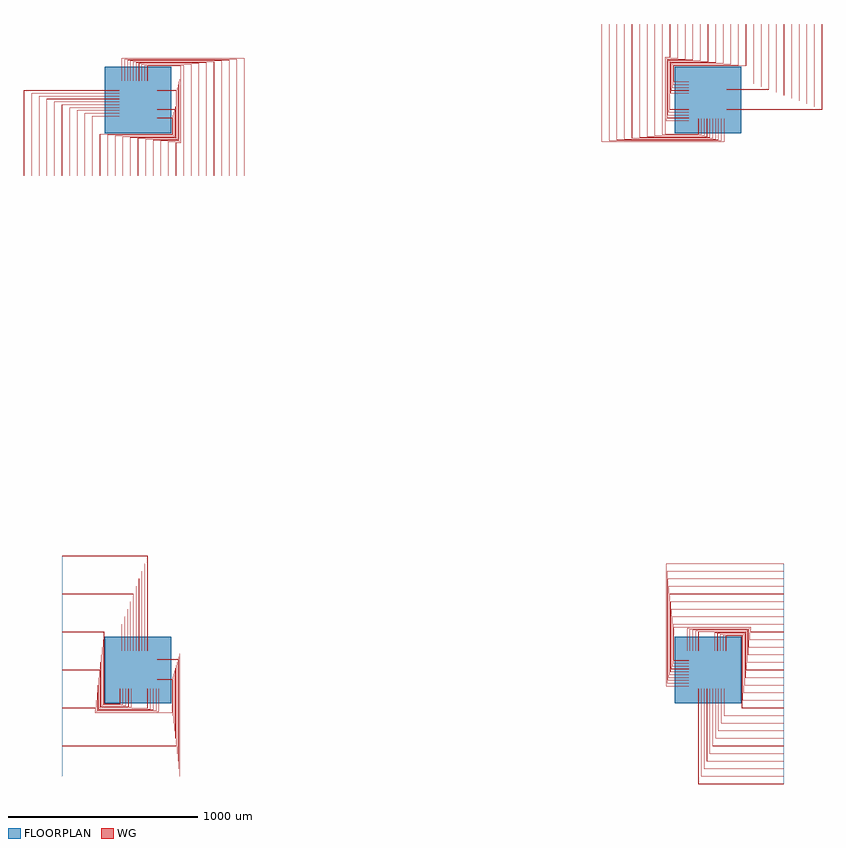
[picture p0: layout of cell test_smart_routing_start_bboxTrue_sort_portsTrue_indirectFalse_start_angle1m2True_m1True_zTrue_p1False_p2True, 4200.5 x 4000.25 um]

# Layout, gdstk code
import gdstk
lib = gdstk.Library(unit=1e-6, precision=1e-09)
def R(c, l, rs):  # rectangles x0, y0, x1, y1
    for r in rs: c.add(gdstk.rectangle(r[:2], r[2:], *l))
def P(c, l, *ps):  # polygons
    for p in ps: c.add(gdstk.Polygon(p, *l))
WG = (1, 0)
FLOORPLAN = (10, 0)

test_smart_routing_start = lib.new_cell('test_smart_routing_start_bboxTrue_sort_portsTrue_indirectFalse_start_angle1m2True_m1True_zTrue_p1False_p2True')
P(test_smart_routing_start, WG, [(3100,2949.75),(3100,2950.25),(3599.75,2950.25),(3599.75,3400),(3600.25,3400),(3600.25,2949.75)],
  [(3100,2964.75),(3100,2965.25),(3559.75,2965.25),(3559.75,3400),(3560.25,3400),(3560.25,2964.75)],
  [(3100,2979.75),(3100,2980.25),(3519.75,2980.25),(3519.75,3400),(3520.25,3400),(3520.25,2979.75)],
  [(3100,2994.75),(3100,2995.25),(3479.75,2995.25),(3479.75,3400),(3480.25,3400),(3480.25,2994.75)],
  [(3100,3009.75),(3100,3010.25),(3439.75,3010.25),(3439.75,3400),(3440.25,3400),(3440.25,3009.75)],
  [(3100,3024.75),(3100,3025.25),(3399.75,3025.25),(3399.75,3400),(3400.25,3400),(3400.25,3024.75)],
  [(3100,3039.75),(3100,3040.25),(3359.75,3040.25),(3359.75,3400),(3360.25,3400),(3360.25,3039.75)],
  [(3100,3054.75),(3100,3055.25),(3319.75,3055.25),(3319.75,3400),(3320.25,3400),(3320.25,3054.75)],
  [(3100,3069.75),(3100,3070.25),(3279.75,3070.25),(3279.75,3400),(3280.25,3400),(3280.25,3069.75)],
  [(3100,3084.75),(3100,3085.25),(3239.75,3085.25),(3239.75,3400),(3240.25,3400),(3240.25,3084.75)],
  [(2820.5,3094.75),(2820.5,3179.5),(3199.75,3179.5),(3199.75,3400),(3200.25,3400),(3200.25,3179),(2821,3179),(2821,3095.25),(2900,3095.25),(2900,3094.75)],
  [(2816,3079.75),(2816,3184),(3159.75,3184),(3159.75,3400),(3160.25,3400),(3160.25,3183.5),(2816.5,3183.5),(2816.5,3080.25),(2900,3080.25),(2900,3079.75)],
  [(2811.5,3064.75),(2811.5,3188.5),(3119.75,3188.5),(3119.75,3400),(3120.25,3400),(3120.25,3188),(2812,3188),(2812,3065.25),(2900,3065.25),(2900,3064.75)],
  [(2807,3049.75),(2807,3193),(3079.75,3193),(3079.75,3400),(3080.25,3400),(3080.25,3192.5),(2807.5,3192.5),(2807.5,3050.25),(2900,3050.25),(2900,3049.75)],
  [(2802.5,3034.75),(2802.5,3197.5),(3039.75,3197.5),(3039.75,3400),(3040.25,3400),(3040.25,3197),(2803,3197),(2803,3035.25),(2900,3035.25),(2900,3034.75)],
  [(2798,2949.75),(2798,3202),(2999.75,3202),(2999.75,3400),(3000.25,3400),(3000.25,3201.5),(2798.5,3201.5),(2798.5,2950.25),(2900,2950.25),(2900,2949.75)],
  [(2793.5,2934.75),(2793.5,3206.5),(2959.75,3206.5),(2959.75,3400),(2960.25,3400),(2960.25,3206),(2794,3206),(2794,2935.25),(2900,2935.25),(2900,2934.75)],
  [(2789,2919.75),(2789,3211),(2919.75,3211),(2919.75,3400),(2920.25,3400),(2920.25,3210.5),(2789.5,3210.5),(2789.5,2920.25),(2900,2920.25),(2900,2919.75)],
  [(2784.5,2904.75),(2784.5,3215.5),(2879.75,3215.5),(2879.75,3400),(2880.25,3400),(2880.25,3215),(2785,3215),(2785,2905.25),(2900,2905.25),(2900,2904.75)],
  [(2780,2889.75),(2780,3220),(2839.75,3220),(2839.75,3400),(2840.25,3400),(2840.25,3219.5),(2780.5,3219.5),(2780.5,2890.25),(2900,2890.25),(2900,2889.75)],
  [(2775.5,2820.5),(2775.5,3224.5),(2799.75,3224.5),(2799.75,3400),(2800.25,3400),(2800.25,3224),(2776,3224),(2776,2821),(2949.75,2821),(2949.75,2900),(2950.25,2900),(2950.25,2820.5)],
  [(2759.75,2816),(2759.75,3400),(2760.25,3400),(2760.25,2816.5),(2964.75,2816.5),(2964.75,2900),(2965.25,2900),(2965.25,2816)],
  [(2719.75,2811.5),(2719.75,3400),(2720.25,3400),(2720.25,2812),(2979.75,2812),(2979.75,2900),(2980.25,2900),(2980.25,2811.5)],
  [(2679.75,2807),(2679.75,3400),(2680.25,3400),(2680.25,2807.5),(2994.75,2807.5),(2994.75,2900),(2995.25,2900),(2995.25,2807)],
  [(2639.75,2802.5),(2639.75,3400),(2640.25,3400),(2640.25,2803),(3009.75,2803),(3009.75,2900),(3010.25,2900),(3010.25,2802.5)],
  [(2599.75,2798),(2599.75,3400),(2600.25,3400),(2600.25,2798.5),(3024.75,2798.5),(3024.75,2900),(3025.25,2900),(3025.25,2798)],
  [(2559.75,2793.5),(2559.75,3400),(2560.25,3400),(2560.25,2794),(3039.75,2794),(3039.75,2900),(3040.25,2900),(3040.25,2793.5)],
  [(2519.75,2789),(2519.75,3400),(2520.25,3400),(2520.25,2789.5),(3054.75,2789.5),(3054.75,2900),(3055.25,2900),(3055.25,2789)],
  [(2479.75,2784.5),(2479.75,3400),(2480.25,3400),(2480.25,2785),(3069.75,2785),(3069.75,2900),(3070.25,2900),(3070.25,2784.5)],
  [(2439.75,2780),(2439.75,3400),(2440.25,3400),(2440.25,2780.5),(3084.75,2780.5),(3084.75,2900),(3085.25,2900),(3085.25,2780)],
  [(-600.25,2600),(-600.25,3050.25),(-100,3050.25),(-100,3049.75),(-599.75,3049.75),(-599.75,2600)],
  [(-560.25,2600),(-560.25,3035.25),(-100,3035.25),(-100,3034.75),(-559.75,3034.75),(-559.75,2600)],
  [(-520.25,2600),(-520.25,3020.25),(-100,3020.25),(-100,3019.75),(-519.75,3019.75),(-519.75,2600)],
  [(-480.25,2600),(-480.25,3005.25),(-100,3005.25),(-100,3004.75),(-479.75,3004.75),(-479.75,2600)],
  [(-440.25,2600),(-440.25,2990.25),(-100,2990.25),(-100,2989.75),(-439.75,2989.75),(-439.75,2600)],
  [(-400.25,2600),(-400.25,2975.25),(-100,2975.25),(-100,2974.75),(-399.75,2974.75),(-399.75,2600)],
  [(-360.25,2600),(-360.25,2960.25),(-100,2960.25),(-100,2959.75),(-359.75,2959.75),(-359.75,2600)],
  [(-320.25,2600),(-320.25,2945.25),(-100,2945.25),(-100,2944.75),(-319.75,2944.75),(-319.75,2600)],
  [(-280.25,2600),(-280.25,2930.25),(-100,2930.25),(-100,2929.75),(-279.75,2929.75),(-279.75,2600)],
  [(-240.25,2600),(-240.25,2915.25),(-100,2915.25),(-100,2914.75),(-239.75,2914.75),(-239.75,2600)],
  [(-200.25,2600),(-200.25,2821),(179,2821),(179,2904.75),(100,2904.75),(100,2905.25),(179.5,2905.25),(179.5,2820.5),(-199.75,2820.5),(-199.75,2600)],
  [(-160.25,2600),(-160.25,2816.5),(183.5,2816.5),(183.5,2919.75),(100,2919.75),(100,2920.25),(184,2920.25),(184,2816),(-159.75,2816),(-159.75,2600)],
  [(-120.25,2600),(-120.25,2812),(188,2812),(188,2934.75),(100,2934.75),(100,2935.25),(188.5,2935.25),(188.5,2811.5),(-119.75,2811.5),(-119.75,2600)],
  [(-80.25,2600),(-80.25,2807.5),(192.5,2807.5),(192.5,2949.75),(100,2949.75),(100,2950.25),(193,2950.25),(193,2807),(-79.75,2807),(-79.75,2600)],
  [(-40.25,2600),(-40.25,2803),(197,2803),(197,2964.75),(100,2964.75),(100,2965.25),(197.5,2965.25),(197.5,2802.5),(-39.75,2802.5),(-39.75,2600)],
  [(-0.25,2600),(-0.25,2798.5),(201.5,2798.5),(201.5,3049.75),(100,3049.75),(100,3050.25),(202,3050.25),(202,2798),(0.25,2798),(0.25,2600)],
  [(39.75,2600),(39.75,2794),(206,2794),(206,3064.75),(100,3064.75),(100,3065.25),(206.5,3065.25),(206.5,2793.5),(40.25,2793.5),(40.25,2600)],
  [(79.75,2600),(79.75,2789.5),(210.5,2789.5),(210.5,3079.75),(100,3079.75),(100,3080.25),(211,3080.25),(211,2789),(80.25,2789),(80.25,2600)],
  [(119.75,2600),(119.75,2785),(215,2785),(215,3094.75),(100,3094.75),(100,3095.25),(215.5,3095.25),(215.5,2784.5),(120.25,2784.5),(120.25,2600)],
  [(159.75,2600),(159.75,2780.5),(219.5,2780.5),(219.5,3109.75),(100,3109.75),(100,3110.25),(220,3110.25),(220,2780),(160.25,2780),(160.25,2600)],
  [(199.75,2600),(199.75,2776),(224,2776),(224,3179),(50.25,3179),(50.25,3100),(49.75,3100),(49.75,3179.5),(224.5,3179.5),(224.5,2775.5),(200.25,2775.5),(200.25,2600)],
  [(239.75,2600),(239.75,3183.5),(35.25,3183.5),(35.25,3100),(34.75,3100),(34.75,3184),(240.25,3184),(240.25,2600)],
  [(279.75,2600),(279.75,3188),(20.25,3188),(20.25,3100),(19.75,3100),(19.75,3188.5),(280.25,3188.5),(280.25,2600)],
  [(319.75,2600),(319.75,3192.5),(5.25,3192.5),(5.25,3100),(4.75,3100),(4.75,3193),(320.25,3193),(320.25,2600)],
  [(359.75,2600),(359.75,3197),(-9.75,3197),(-9.75,3100),(-10.25,3100),(-10.25,3197.5),(360.25,3197.5),(360.25,2600)],
  [(399.75,2600),(399.75,3201.5),(-24.75,3201.5),(-24.75,3100),(-25.25,3100),(-25.25,3202),(400.25,3202),(400.25,2600)],
  [(439.75,2600),(439.75,3206),(-39.75,3206),(-39.75,3100),(-40.25,3100),(-40.25,3206.5),(440.25,3206.5),(440.25,2600)],
  [(479.75,2600),(479.75,3210.5),(-54.75,3210.5),(-54.75,3100),(-55.25,3100),(-55.25,3211),(480.25,3211),(480.25,2600)],
  [(519.75,2600),(519.75,3215),(-69.75,3215),(-69.75,3100),(-70.25,3100),(-70.25,3215.5),(520.25,3215.5),(520.25,2600)],
  [(559.75,2600),(559.75,3219.5),(-84.75,3219.5),(-84.75,3100),(-85.25,3100),(-85.25,3220),(560.25,3220),(560.25,2600)],
  [(49.75,100),(49.75,599.75),(-400,599.75),(-400,600.25),(50.25,600.25),(50.25,100)],
  [(34.75,100),(34.75,559.75),(-400,559.75),(-400,560.25),(35.25,560.25),(35.25,100)],
  [(19.75,100),(19.75,519.75),(-400,519.75),(-400,520.25),(20.25,520.25),(20.25,100)],
  [(4.75,100),(4.75,479.75),(-400,479.75),(-400,480.25),(5.25,480.25),(5.25,100)],
  [(-10.25,100),(-10.25,439.75),(-400,439.75),(-400,440.25),(-9.75,440.25),(-9.75,100)],
  [(-25.25,100),(-25.25,399.75),(-400,399.75),(-400,400.25),(-24.75,400.25),(-24.75,100)],
  [(-40.25,100),(-40.25,359.75),(-400,359.75),(-400,360.25),(-39.75,360.25),(-39.75,100)],
  [(-55.25,100),(-55.25,319.75),(-400,319.75),(-400,320.25),(-54.75,320.25),(-54.75,100)],
  [(-70.25,100),(-70.25,279.75),(-400,279.75),(-400,280.25),(-69.75,280.25),(-69.75,100)],
  [(-85.25,100),(-85.25,239.75),(-400,239.75),(-400,240.25),(-84.75,240.25),(-84.75,100)],
  [(-179.5,-179.5),(-179.5,199.75),(-400,199.75),(-400,200.25),(-179,200.25),(-179,-179),(-95.25,-179),(-95.25,-100),(-94.75,-100),(-94.75,-179.5)],
  [(-184,-184),(-184,159.75),(-400,159.75),(-400,160.25),(-183.5,160.25),(-183.5,-183.5),(-80.25,-183.5),(-80.25,-100),(-79.75,-100),(-79.75,-184)],
  [(-188.5,-188.5),(-188.5,119.75),(-400,119.75),(-400,120.25),(-188,120.25),(-188,-188),(-65.25,-188),(-65.25,-100),(-64.75,-100),(-64.75,-188.5)],
  [(-193,-193),(-193,79.75),(-400,79.75),(-400,80.25),(-192.5,80.25),(-192.5,-192.5),(-50.25,-192.5),(-50.25,-100),(-49.75,-100),(-49.75,-193)],
  [(-197.5,-197.5),(-197.5,39.75),(-400,39.75),(-400,40.25),(-197,40.25),(-197,-197),(-35.25,-197),(-35.25,-100),(-34.75,-100),(-34.75,-197.5)],
  [(-202,-202),(-202,-0.25),(-400,-0.25),(-400,0.25),(-201.5,0.25),(-201.5,-201.5),(49.75,-201.5),(49.75,-100),(50.25,-100),(50.25,-202)],
  [(-206.5,-206.5),(-206.5,-40.25),(-400,-40.25),(-400,-39.75),(-206,-39.75),(-206,-206),(64.75,-206),(64.75,-100),(65.25,-100),(65.25,-206.5)],
  [(-211,-211),(-211,-80.25),(-400,-80.25),(-400,-79.75),(-210.5,-79.75),(-210.5,-210.5),(79.75,-210.5),(79.75,-100),(80.25,-100),(80.25,-211)],
  [(-215.5,-215.5),(-215.5,-120.25),(-400,-120.25),(-400,-119.75),(-215,-119.75),(-215,-215),(94.75,-215),(94.75,-100),(95.25,-100),(95.25,-215.5)],
  [(-220,-220),(-220,-160.25),(-400,-160.25),(-400,-159.75),(-219.5,-159.75),(-219.5,-219.5),(109.75,-219.5),(109.75,-100),(110.25,-100),(110.25,-220)],
  [(-224.5,-224.5),(-224.5,-200.25),(-400,-200.25),(-400,-199.75),(-224,-199.75),(-224,-224),(179,-224),(179,-50.25),(100,-50.25),(100,-49.75),(179.5,-49.75),(179.5,-224.5)],
  [(-400,-240.25),(-400,-239.75),(183.5,-239.75),(183.5,-35.25),(100,-35.25),(100,-34.75),(184,-34.75),(184,-240.25)],
  [(-400,-280.25),(-400,-279.75),(188,-279.75),(188,-20.25),(100,-20.25),(100,-19.75),(188.5,-19.75),(188.5,-280.25)],
  [(-400,-320.25),(-400,-319.75),(192.5,-319.75),(192.5,-5.25),(100,-5.25),(100,-4.75),(193,-4.75),(193,-320.25)],
  [(-400,-360.25),(-400,-359.75),(197,-359.75),(197,9.75),(100,9.75),(100,10.25),(197.5,10.25),(197.5,-360.25)],
  [(-400,-400.25),(-400,-399.75),(201.5,-399.75),(201.5,24.75),(100,24.75),(100,25.25),(202,25.25),(202,-400.25)],
  [(-400,-440.25),(-400,-439.75),(206,-439.75),(206,39.75),(100,39.75),(100,40.25),(206.5,40.25),(206.5,-440.25)],
  [(-400,-480.25),(-400,-479.75),(210.5,-479.75),(210.5,54.75),(100,54.75),(100,55.25),(211,55.25),(211,-480.25)],
  [(-400,-520.25),(-400,-519.75),(215,-519.75),(215,69.75),(100,69.75),(100,70.25),(215.5,70.25),(215.5,-520.25)],
  [(-400,-560.25),(-400,-559.75),(219.5,-559.75),(219.5,84.75),(100,84.75),(100,85.25),(220,85.25),(220,-560.25)],
  [(2949.75,-600.25),(2949.75,-100),(2950.25,-100),(2950.25,-599.75),(3400,-599.75),(3400,-600.25)],
  [(2964.75,-560.25),(2964.75,-100),(2965.25,-100),(2965.25,-559.75),(3400,-559.75),(3400,-560.25)],
  [(2979.75,-520.25),(2979.75,-100),(2980.25,-100),(2980.25,-519.75),(3400,-519.75),(3400,-520.25)],
  [(2994.75,-480.25),(2994.75,-100),(2995.25,-100),(2995.25,-479.75),(3400,-479.75),(3400,-480.25)],
  [(3009.75,-440.25),(3009.75,-100),(3010.25,-100),(3010.25,-439.75),(3400,-439.75),(3400,-440.25)],
  [(3024.75,-400.25),(3024.75,-100),(3025.25,-100),(3025.25,-399.75),(3400,-399.75),(3400,-400.25)],
  [(3039.75,-360.25),(3039.75,-100),(3040.25,-100),(3040.25,-359.75),(3400,-359.75),(3400,-360.25)],
  [(3054.75,-320.25),(3054.75,-100),(3055.25,-100),(3055.25,-319.75),(3400,-319.75),(3400,-320.25)],
  [(3069.75,-280.25),(3069.75,-100),(3070.25,-100),(3070.25,-279.75),(3400,-279.75),(3400,-280.25)],
  [(3084.75,-240.25),(3084.75,-100),(3085.25,-100),(3085.25,-239.75),(3400,-239.75),(3400,-240.25)],
  [(3179,-200.25),(3179,179),(3095.25,179),(3095.25,100),(3094.75,100),(3094.75,179.5),(3179.5,179.5),(3179.5,-199.75),(3400,-199.75),(3400,-200.25)],
  [(3183.5,-160.25),(3183.5,183.5),(3080.25,183.5),(3080.25,100),(3079.75,100),(3079.75,184),(3184,184),(3184,-159.75),(3400,-159.75),(3400,-160.25)],
  [(3188,-120.25),(3188,188),(3065.25,188),(3065.25,100),(3064.75,100),(3064.75,188.5),(3188.5,188.5),(3188.5,-119.75),(3400,-119.75),(3400,-120.25)],
  [(3192.5,-80.25),(3192.5,192.5),(3050.25,192.5),(3050.25,100),(3049.75,100),(3049.75,193),(3193,193),(3193,-79.75),(3400,-79.75),(3400,-80.25)],
  [(3197,-40.25),(3197,197),(3035.25,197),(3035.25,100),(3034.75,100),(3034.75,197.5),(3197.5,197.5),(3197.5,-39.75),(3400,-39.75),(3400,-40.25)],
  [(3201.5,-0.25),(3201.5,201.5),(2950.25,201.5),(2950.25,100),(2949.75,100),(2949.75,202),(3202,202),(3202,0.25),(3400,0.25),(3400,-0.25)],
  [(3206,39.75),(3206,206),(2935.25,206),(2935.25,100),(2934.75,100),(2934.75,206.5),(3206.5,206.5),(3206.5,40.25),(3400,40.25),(3400,39.75)],
  [(3210.5,79.75),(3210.5,210.5),(2920.25,210.5),(2920.25,100),(2919.75,100),(2919.75,211),(3211,211),(3211,80.25),(3400,80.25),(3400,79.75)],
  [(2904.75,100),(2904.75,215.5),(3215.5,215.5),(3215.5,120.25),(3400,120.25),(3400,119.75),(3215,119.75),(3215,215),(2905.25,215),(2905.25,100)],
  [(2889.75,100),(2889.75,220),(3220,220),(3220,160.25),(3400,160.25),(3400,159.75),(3219.5,159.75),(3219.5,219.5),(2890.25,219.5),(2890.25,100)],
  [(2820.5,49.75),(2820.5,224.5),(3224.5,224.5),(3224.5,200.25),(3400,200.25),(3400,199.75),(3224,199.75),(3224,224),(2821,224),(2821,50.25),(2900,50.25),(2900,49.75)],
  [(2816,34.75),(2816,240.25),(3400,240.25),(3400,239.75),(2816.5,239.75),(2816.5,35.25),(2900,35.25),(2900,34.75)],
  [(2811.5,19.75),(2811.5,280.25),(3400,280.25),(3400,279.75),(2812,279.75),(2812,20.25),(2900,20.25),(2900,19.75)],
  [(2807,4.75),(2807,320.25),(3400,320.25),(3400,319.75),(2807.5,319.75),(2807.5,5.25),(2900,5.25),(2900,4.75)],
  [(2802.5,-10.25),(2802.5,360.25),(3400,360.25),(3400,359.75),(2803,359.75),(2803,-9.75),(2900,-9.75),(2900,-10.25)],
  [(2798,-25.25),(2798,400.25),(3400,400.25),(3400,399.75),(2798.5,399.75),(2798.5,-24.75),(2900,-24.75),(2900,-25.25)],
  [(2793.5,-40.25),(2793.5,440.25),(3400,440.25),(3400,439.75),(2794,439.75),(2794,-39.75),(2900,-39.75),(2900,-40.25)],
  [(2789,-55.25),(2789,480.25),(3400,480.25),(3400,479.75),(2789.5,479.75),(2789.5,-54.75),(2900,-54.75),(2900,-55.25)],
  [(2784.5,-70.25),(2784.5,520.25),(3400,520.25),(3400,519.75),(2785,519.75),(2785,-69.75),(2900,-69.75),(2900,-70.25)],
  [(2780,-85.25),(2780,560.25),(3400,560.25),(3400,559.75),(2780.5,559.75),(2780.5,-84.75),(2900,-84.75),(2900,-85.25)])
R(test_smart_routing_start, FLOORPLAN, [(-175,-175,175,175), (2825,-175,3175,175), (-175,2825,175,3175), (2825,2825,3175,3175)])
P(test_smart_routing_start, FLOORPLAN, [(-400,-560),(-400,600),(-400,600),(-400,-560)],
  [(-600,2600),(-600,2600),(560,2600),(560,2600)],
  [(3400,-600),(3400,560),(3400,560),(3400,-600)],
  [(2440,3400),(2440,3400),(3600,3400),(3600,3400)])

lib.write_gds('test_smart_routing_start_bboxTrue_sort_portsTrue_indirectFalse_start_angle1m2True_m1True_zTrue_p1False_p2True.gds')
